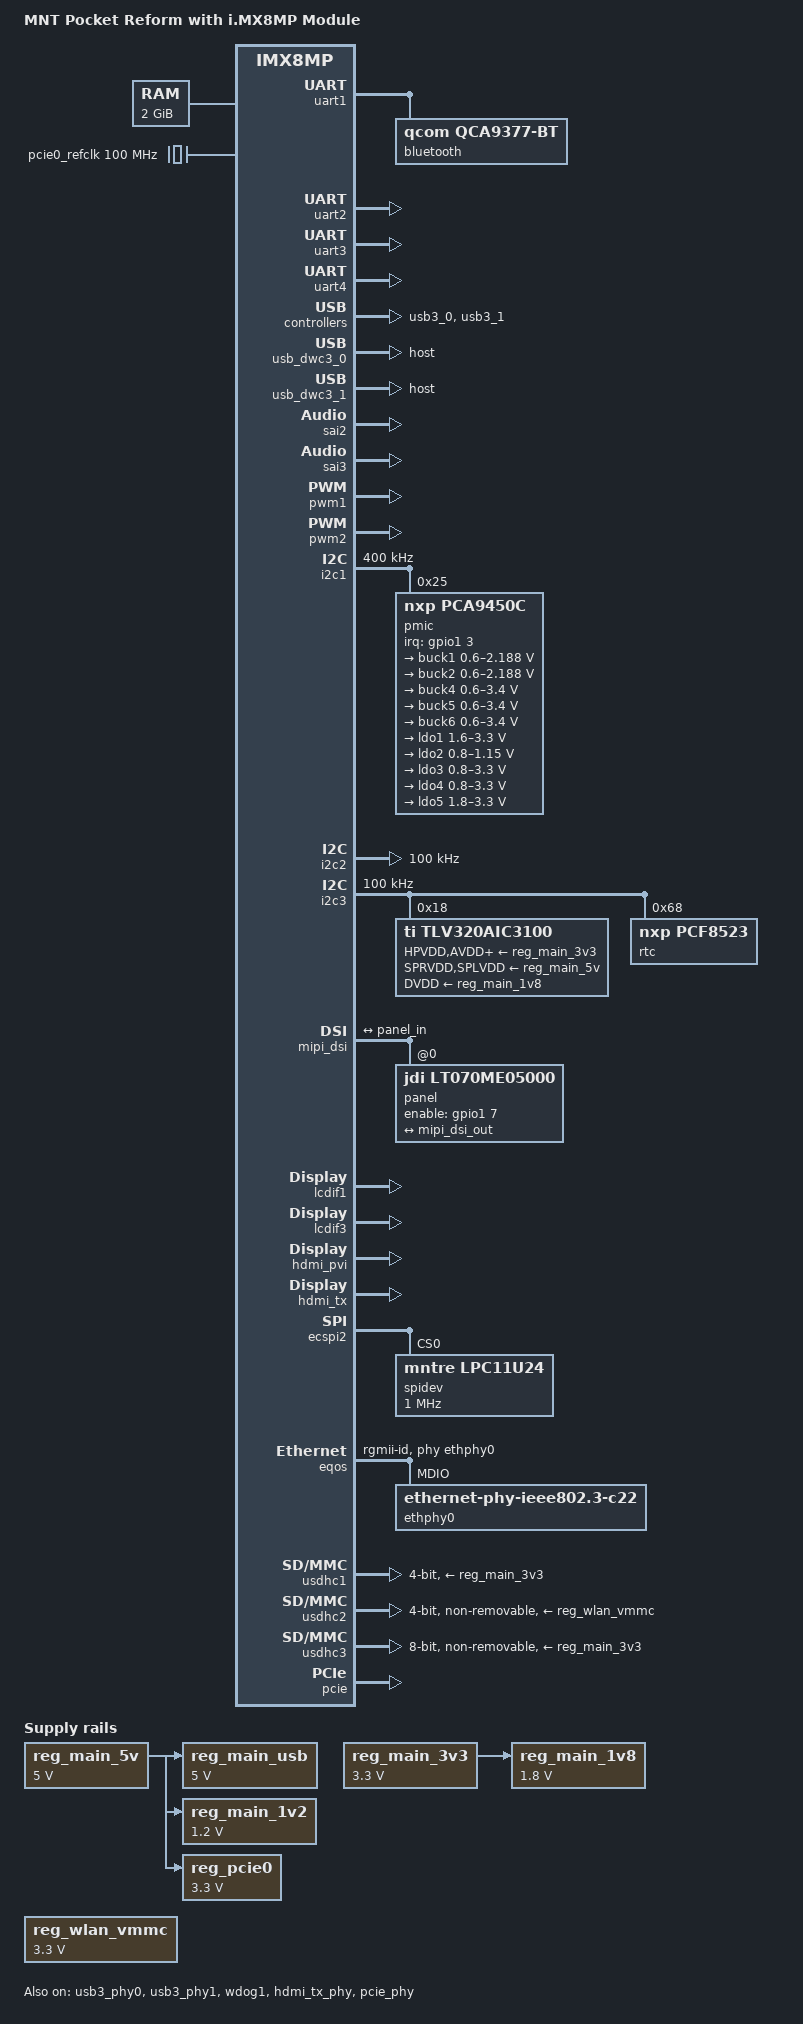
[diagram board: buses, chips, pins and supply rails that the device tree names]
// SPDX-License-Identifier: (GPL-2.0+ OR MIT)

/*
 * Copyright 2019-2022 MNT Research GmbH
 * Copyright 2021 Lucas Stach <dev@lynxeye.de>
 * Copyright 2020 Boundary Devices
*/

// https://github.com/boundarydevices/linux/blob/boundary-imx_5.15.y/arch/arm64/boot/dts/freescale/imx8mp-nitrogen8mp.dts

/dts-v1/;

#include <dt-bindings/phy/phy-imx8-pcie.h>
#include "imx8mp.dtsi"

&iomuxc {
	pinctrl_eqos: eqosgrp {
		fsl,pins = <
			MX8MP_IOMUXC_ENET_MDC__ENET_QOS_MDC		0x20
			MX8MP_IOMUXC_ENET_MDIO__ENET_QOS_MDIO		0xa0
			MX8MP_IOMUXC_ENET_TX_CTL__ENET_QOS_RGMII_TX_CTL	0x1f
			MX8MP_IOMUXC_ENET_TXC__CCM_ENET_QOS_CLOCK_GENERATE_TX_CLK	0x1f
			MX8MP_IOMUXC_ENET_TD0__ENET_QOS_RGMII_TD0		0x1f
			MX8MP_IOMUXC_ENET_TD1__ENET_QOS_RGMII_TD1		0x1f
			MX8MP_IOMUXC_ENET_TD2__ENET_QOS_RGMII_TD2		0x1f
			MX8MP_IOMUXC_ENET_TD3__ENET_QOS_RGMII_TD3		0x1f

			MX8MP_IOMUXC_ENET_RX_CTL__ENET_QOS_RGMII_RX_CTL	0x91
			MX8MP_IOMUXC_ENET_RXC__CCM_ENET_QOS_CLOCK_GENERATE_RX_CLK	0x91
			MX8MP_IOMUXC_ENET_RD0__ENET_QOS_RGMII_RD0	0x91
			MX8MP_IOMUXC_ENET_RD1__ENET_QOS_RGMII_RD1	0x91
			MX8MP_IOMUXC_ENET_RD2__ENET_QOS_RGMII_RD2	0x91
			MX8MP_IOMUXC_ENET_RD3__ENET_QOS_RGMII_RD3	0x91
#define GP_EQOS_RESET	<&gpio3 16 GPIO_ACTIVE_LOW>
			MX8MP_IOMUXC_NAND_READY_B__GPIO3_IO16		0x100
#define GPIRQ_EQOS_PHY	<&gpio3 14 IRQ_TYPE_LEVEL_LOW>
			MX8MP_IOMUXC_NAND_DQS__GPIO3_IO14 0x10
		>;
	};

	pinctrl_hog: hoggrp {
		fsl,pins = <
			//MX8MP_IOMUXC_NAND_DATA01__GPIO3_IO07		0x119			/* J31 */
			MX8MP_IOMUXC_SPDIF_RX__GPIO5_IO04		0x41	/* Pin 17 */
			MX8MP_IOMUXC_SPDIF_EXT_CLK__GPIO5_IO05		0x41	/* Pin 19 */
			MX8MP_IOMUXC_SPDIF_TX__GPIO5_IO03		0x41	/* Pin 21 */
			MX8MP_IOMUXC_SD1_RESET_B__GPIO2_IO10		0x41	/* Pin 23 */
			MX8MP_IOMUXC_SD1_DATA6__GPIO2_IO08		0x41	/* Pin 25 */
			MX8MP_IOMUXC_SD1_DATA5__GPIO2_IO07		0x41	/* Pin 29 */
			//MX8MP_IOMUXC_SD1_DATA4__GPIO2_IO06		0x41	/* Pin 31 */
			MX8MP_IOMUXC_SAI1_MCLK__GPIO4_IO20		0x16	/* Pin 2 */
			MX8MP_IOMUXC_SAI1_TXD7__GPIO4_IO19		0x1c4	/* Pin 4 */
		>;
	};

	pinctrl_panel: panelgrp {
		fsl,pins = <
			MX8MP_IOMUXC_GPIO1_IO06__GPIO1_IO06	0x140
			MX8MP_IOMUXC_GPIO1_IO07__GPIO1_IO07	0x140
			MX8MP_IOMUXC_SD1_DATA4__GPIO2_IO06		0x41	/* Pin 31 */
		>;
	};

	pinctrl_hdmi: hdmigrp {
		fsl,pins = <
			MX8MP_IOMUXC_HDMI_DDC_SCL__HDMIMIX_HDMI_SCL	0x1c3
			MX8MP_IOMUXC_HDMI_DDC_SDA__HDMIMIX_HDMI_SDA	0x1c3
			MX8MP_IOMUXC_HDMI_HPD__HDMIMIX_HDMI_HPD		0x19
			MX8MP_IOMUXC_HDMI_CEC__HDMIMIX_HDMI_CEC		0x19

			/*MX8MP_IOMUXC_HDMI_DDC_SCL__HDMIMIX_HDMI_SCL	0x400001c3
			MX8MP_IOMUXC_HDMI_DDC_SDA__HDMIMIX_HDMI_SDA	0x400001c3
			MX8MP_IOMUXC_HDMI_HPD__HDMIMIX_HDMI_HPD		0x40000019
			MX8MP_IOMUXC_HDMI_CEC__HDMIMIX_HDMI_CEC		0x40000019*/
		>;
	};

	pinctrl_bt_rfkill: bt-rfkillgrp {
		fsl,pins = <
#define GP_BT_RFKILL_RESET	<&gpio3 9 GPIO_ACTIVE_LOW>
			MX8MP_IOMUXC_NAND_DATA03__GPIO3_IO09	0x119
		>;
	};

	pinctrl_ecspi2: ecspi2grp {
		fsl,pins = <
			/* J31 */
			MX8MP_IOMUXC_ECSPI2_SCLK__ECSPI2_SCLK		0x82	/* Pin 20 */
			MX8MP_IOMUXC_ECSPI2_MOSI__ECSPI2_MOSI		0x82	/* Pin 10 */
			MX8MP_IOMUXC_ECSPI2_MISO__ECSPI2_MISO		0x82	/* Pin 8 */
#define GP_ECSPI2_CS	<&gpio5 13 GPIO_ACTIVE_LOW>
			MX8MP_IOMUXC_ECSPI2_SS0__GPIO5_IO13		0x143	/* Pin 6 */
		>;
	};

	pinctrl_i2c1: i2c1grp {
		fsl,pins = <
			MX8MP_IOMUXC_I2C1_SCL__I2C1_SCL		0x400001c3
			MX8MP_IOMUXC_I2C1_SDA__I2C1_SDA		0x400001c3
		>;
	};

	pinctrl_i2c1_1: i2c1-1grp {
		fsl,pins = <
#define GP_I2C1_SCL	<&gpio5 14 GPIO_OPEN_DRAIN>
			MX8MP_IOMUXC_I2C1_SCL__GPIO5_IO14					0x1c3
#define GP_I2C1_SDA	<&gpio5 15 GPIO_OPEN_DRAIN>
			MX8MP_IOMUXC_I2C1_SDA__GPIO5_IO15					0x1c3
		>;
	};

	pinctrl_i2c2: i2c2grp {
		fsl,pins = <
			MX8MP_IOMUXC_I2C2_SCL__I2C2_SCL			0x400001c3
			MX8MP_IOMUXC_I2C2_SDA__I2C2_SDA			0x400001c3
		>;
	};

	pinctrl_i2c2_1: i2c2-1grp {
		fsl,pins = <
#define GP_I2C2_SCL	<&gpio5 16 GPIO_OPEN_DRAIN>
			MX8MP_IOMUXC_I2C2_SCL__GPIO5_IO16					0x1c3
#define GP_I2C2_SDA	<&gpio5 17 GPIO_OPEN_DRAIN>
			MX8MP_IOMUXC_I2C2_SDA__GPIO5_IO17					0x1c3
		>;
	};

	pinctrl_i2c3: i2c3grp {
		fsl,pins = <
			MX8MP_IOMUXC_I2C3_SCL__I2C3_SCL			0x400001c3
			MX8MP_IOMUXC_I2C3_SDA__I2C3_SDA			0x400001c3
		>;
	};

	pinctrl_i2c3_1: i2c3-1grp {
		fsl,pins = <
#define GP_I2C3_SCL	<&gpio5 18 GPIO_OPEN_DRAIN>
			MX8MP_IOMUXC_I2C3_SCL__GPIO5_IO18					0x1c3
#define GP_I2C3_SDA	<&gpio5 19 GPIO_OPEN_DRAIN>
			MX8MP_IOMUXC_I2C3_SDA__GPIO5_IO19					0x1c3
		>;
	};

	pinctrl_i2c4: i2c4grp {
		fsl,pins = <
			MX8MP_IOMUXC_I2C4_SCL__I2C4_SCL			0x400001c3
			MX8MP_IOMUXC_I2C4_SDA__I2C4_SDA			0x400001c3
		>;
	};

	pinctrl_i2c4_1: i2c4-1grp {
		fsl,pins = <
#define GP_I2C4_SCL	<&gpio5 20 GPIO_OPEN_DRAIN>
			MX8MP_IOMUXC_I2C4_SCL__GPIO5_IO20					0x1c3
#define GP_I2C4_SDA	<&gpio5 21 GPIO_OPEN_DRAIN>
			MX8MP_IOMUXC_I2C4_SDA__GPIO5_IO21					0x1c3
		>;
	};

	pinctrl_reg_wlan_vmmc: reg-wlan-vmmcgrp {
		fsl,pins = <
#define GP_REG_WLAN_VMMC	<&gpio2 19 GPIO_ACTIVE_HIGH>
			MX8MP_IOMUXC_SD2_RESET_B__GPIO2_IO19	0x16
		>;
	};

	pinctrl_sai2: sai2grp {
		fsl,pins = <
			MX8MP_IOMUXC_SAI2_TXFS__AUDIOMIX_SAI2_TX_SYNC	0xd6
			MX8MP_IOMUXC_SAI2_RXFS__AUDIOMIX_SAI2_RX_SYNC	0xd6
			MX8MP_IOMUXC_SAI2_TXC__AUDIOMIX_SAI2_TX_BCLK	0xd6
			MX8MP_IOMUXC_SAI2_RXC__AUDIOMIX_SAI2_RX_BCLK	0xd6
			MX8MP_IOMUXC_SAI2_RXD0__AUDIOMIX_SAI2_RX_DATA00	0xd6
			MX8MP_IOMUXC_SAI2_TXD0__AUDIOMIX_SAI2_TX_DATA00	0xd6
			MX8MP_IOMUXC_SAI2_MCLK__AUDIOMIX_SAI2_MCLK	0xd6
		>;
	};

	pinctrl_sai3: sai3grp {
		fsl,pins = <
			MX8MP_IOMUXC_SAI3_TXFS__AUDIOMIX_SAI3_TX_SYNC	0xd6
			MX8MP_IOMUXC_SAI3_RXFS__AUDIOMIX_SAI3_RX_SYNC	0xd6
			MX8MP_IOMUXC_SAI3_TXC__AUDIOMIX_SAI3_TX_BCLK	0xd6
			MX8MP_IOMUXC_SAI3_RXC__AUDIOMIX_SAI3_RX_BCLK	0xd6
			MX8MP_IOMUXC_SAI3_RXD__AUDIOMIX_SAI3_RX_DATA00	0xd6
			MX8MP_IOMUXC_SAI3_TXD__AUDIOMIX_SAI3_TX_DATA00	0xd6
			MX8MP_IOMUXC_SAI3_MCLK__AUDIOMIX_SAI3_MCLK	0xd6
		>;
	};

	pinctrl_pcie: pciegrp {
		fsl,pins = <
#define GP_PCIE_RESET	<&gpio1 11 GPIO_ACTIVE_LOW>
			MX8MP_IOMUXC_GPIO1_IO11__GPIO1_IO11	0x41
/*#define GP_PCIE_DISABLE	<&gpio4 26 GPIO_ACTIVE_LOW>
			MX8MP_IOMUXC_SAI2_TXD0__GPIO4_IO26	0x41*/
		>;
	};

	pinctrl_pmic: pmicirq {
		fsl,pins = <
#define GPIRQ_PMIC	<&gpio3 0 IRQ_TYPE_LEVEL_LOW>
			MX8MP_IOMUXC_NAND_ALE__GPIO3_IO00	0x41
		>;
	};

	pinctrl_edp_bridge: edpbridgegrp {
		fsl,pins = <
			MX8MP_IOMUXC_GPIO1_IO04__GPIO1_IO04 0x100
		>;
	};

	pinctrl_uart1: uart1grp {
		fsl,pins = <
			MX8MP_IOMUXC_UART1_RXD__UART1_DCE_RX	0x140
			MX8MP_IOMUXC_UART1_TXD__UART1_DCE_TX	0x140
			MX8MP_IOMUXC_UART3_RXD__UART1_DCE_CTS	0x140
			MX8MP_IOMUXC_UART3_TXD__UART1_DCE_RTS	0x140
#define GP_BT_ENABLE	<&gpio3 9 GPIO_ACTIVE_HIGH>
			MX8MP_IOMUXC_NAND_DATA03__GPIO3_IO09	0x119
		>;
	};

	pinctrl_uart2: uart2grp {
		fsl,pins = <
			MX8MP_IOMUXC_UART2_RXD__UART2_DCE_RX	0x140
			MX8MP_IOMUXC_UART2_TXD__UART2_DCE_TX	0x140
		>;
	};

	pinctrl_uart3: uart3grp {
		fsl,pins = <
			MX8MP_IOMUXC_ECSPI1_SCLK__UART3_DCE_RX	0x140
			MX8MP_IOMUXC_ECSPI1_MOSI__UART3_DCE_TX	0x140
		>;
	};

	pinctrl_uart4: uart4grp {
		fsl,pins = <
			MX8MP_IOMUXC_UART4_RXD__UART4_DCE_RX	0x140
			MX8MP_IOMUXC_UART4_TXD__UART4_DCE_TX	0x140
		>;
	};

	pinctrl_usb1_vbus: usb1grp {
		fsl,pins = <
			MX8MP_IOMUXC_GPIO1_IO14__USB2_OTG_PWR	0x10
		>;
	};

	pinctrl_usdhc1: usdhc1grp {
		fsl,pins = <
			MX8MP_IOMUXC_SD1_CLK__USDHC1_CLK	0x190
			MX8MP_IOMUXC_SD1_CMD__USDHC1_CMD	0x1d0
			MX8MP_IOMUXC_SD1_DATA0__USDHC1_DATA0	0x1d0
			MX8MP_IOMUXC_SD1_DATA1__USDHC1_DATA1	0x1d0
			MX8MP_IOMUXC_SD1_DATA2__USDHC1_DATA2	0x1d0
			MX8MP_IOMUXC_SD1_DATA3__USDHC1_DATA3	0x1d0
			//MX8MP_IOMUXC_GPIO1_IO03__USDHC1_VSELECT	0x116
		>;
	};

	pinctrl_usdhc1_100mhz: usdhc1grp-100mhz {
		fsl,pins = <
			MX8MP_IOMUXC_SD1_CLK__USDHC1_CLK	0x194
			MX8MP_IOMUXC_SD1_CMD__USDHC1_CMD	0x1d4
			MX8MP_IOMUXC_SD1_DATA0__USDHC1_DATA0	0x1d4
			MX8MP_IOMUXC_SD1_DATA1__USDHC1_DATA1	0x1d4
			MX8MP_IOMUXC_SD1_DATA2__USDHC1_DATA2	0x1d4
			MX8MP_IOMUXC_SD1_DATA3__USDHC1_DATA3	0x1d4
		>;
	};

	pinctrl_usdhc1_200mhz: usdhc1grp-200mhz {
		fsl,pins = <
			MX8MP_IOMUXC_SD1_CLK__USDHC1_CLK	0x196
			MX8MP_IOMUXC_SD1_CMD__USDHC1_CMD	0x1d6
			MX8MP_IOMUXC_SD1_DATA0__USDHC1_DATA0	0x1d6
			MX8MP_IOMUXC_SD1_DATA1__USDHC1_DATA1	0x1d6
			MX8MP_IOMUXC_SD1_DATA2__USDHC1_DATA2	0x1d6
			MX8MP_IOMUXC_SD1_DATA3__USDHC1_DATA3	0x1d6
		>;
	};

	pinctrl_usdhc1_gpio: usdhc1grp-gpio {
		fsl,pins = <
#define GP_USDHC1_CD	<&gpio2 11 GPIO_ACTIVE_LOW>
			MX8MP_IOMUXC_SD1_STROBE__GPIO2_IO11	0x1c4
		>;
	};

	pinctrl_usdhc2: usdhc2grp {
		fsl,pins = <
			MX8MP_IOMUXC_SD2_CLK__USDHC2_CLK	0x190
			MX8MP_IOMUXC_SD2_CMD__USDHC2_CMD	0x1d0
			MX8MP_IOMUXC_SD2_DATA0__USDHC2_DATA0	0x1d0
			MX8MP_IOMUXC_SD2_DATA1__USDHC2_DATA1	0x1d0
			MX8MP_IOMUXC_SD2_DATA2__USDHC2_DATA2	0x1d0
			MX8MP_IOMUXC_SD2_DATA3__USDHC2_DATA3	0x1d0
		>;
	};

	pinctrl_usdhc2_100mhz: usdhc2grp100mhz {
		fsl,pins = <
			MX8MP_IOMUXC_SD2_CLK__USDHC2_CLK	0x194
			MX8MP_IOMUXC_SD2_CMD__USDHC2_CMD	0x1d4
			MX8MP_IOMUXC_SD2_DATA0__USDHC2_DATA0	0x1d4
			MX8MP_IOMUXC_SD2_DATA1__USDHC2_DATA1	0x1d4
			MX8MP_IOMUXC_SD2_DATA2__USDHC2_DATA2	0x1d4
			MX8MP_IOMUXC_SD2_DATA3__USDHC2_DATA3	0x1d4
		>;
	};

	pinctrl_usdhc2_200mhz: usdhc2grp200mhz {
		fsl,pins = <
			MX8MP_IOMUXC_SD2_CLK__USDHC2_CLK	0x196
			MX8MP_IOMUXC_SD2_CMD__USDHC2_CMD	0x1d6
			MX8MP_IOMUXC_SD2_DATA0__USDHC2_DATA0	0x1d6
			MX8MP_IOMUXC_SD2_DATA1__USDHC2_DATA1	0x1d6
			MX8MP_IOMUXC_SD2_DATA2__USDHC2_DATA2	0x1d6
			MX8MP_IOMUXC_SD2_DATA3__USDHC2_DATA3	0x1d6
		>;
	};

	pinctrl_usdhc3: usdhc3grp {
		fsl,pins = <
			MX8MP_IOMUXC_NAND_WE_B__USDHC3_CLK	0x190
			MX8MP_IOMUXC_NAND_WP_B__USDHC3_CMD	0x1d0
			MX8MP_IOMUXC_NAND_DATA04__USDHC3_DATA0	0x1d0
			MX8MP_IOMUXC_NAND_DATA05__USDHC3_DATA1	0x1d0
			MX8MP_IOMUXC_NAND_DATA06__USDHC3_DATA2	0x1d0
			MX8MP_IOMUXC_NAND_DATA07__USDHC3_DATA3	0x1d0
			MX8MP_IOMUXC_NAND_RE_B__USDHC3_DATA4	0x1d0
			MX8MP_IOMUXC_NAND_CE2_B__USDHC3_DATA5	0x1d0
			MX8MP_IOMUXC_NAND_CE3_B__USDHC3_DATA6	0x1d0
			MX8MP_IOMUXC_NAND_CLE__USDHC3_DATA7	0x1d0
			MX8MP_IOMUXC_NAND_CE1_B__USDHC3_STROBE	0x10
#define GP_EMMC_RESET	<&gpio3 1 IRQ_TYPE_LEVEL_LOW>
			MX8MP_IOMUXC_NAND_CE0_B__GPIO3_IO01	0x140
		>;
	};

	pinctrl_usdhc3_100mhz: usdhc3grp-100mhz {
		fsl,pins = <
			MX8MP_IOMUXC_NAND_WE_B__USDHC3_CLK	0x194
			MX8MP_IOMUXC_NAND_WP_B__USDHC3_CMD	0x1d4
			MX8MP_IOMUXC_NAND_DATA04__USDHC3_DATA0	0x1d4
			MX8MP_IOMUXC_NAND_DATA05__USDHC3_DATA1	0x1d4
			MX8MP_IOMUXC_NAND_DATA06__USDHC3_DATA2	0x1d4
			MX8MP_IOMUXC_NAND_DATA07__USDHC3_DATA3	0x1d4
			MX8MP_IOMUXC_NAND_RE_B__USDHC3_DATA4	0x1d4
			MX8MP_IOMUXC_NAND_CE2_B__USDHC3_DATA5	0x1d4
			MX8MP_IOMUXC_NAND_CE3_B__USDHC3_DATA6	0x1d4
			MX8MP_IOMUXC_NAND_CLE__USDHC3_DATA7	0x1d4
			MX8MP_IOMUXC_NAND_CE1_B__USDHC3_STROBE	0x14
		>;
	};

	pinctrl_usdhc3_200mhz: usdhc3grp-200mhz {
		fsl,pins = <
			MX8MP_IOMUXC_NAND_WE_B__USDHC3_CLK	0x196
			MX8MP_IOMUXC_NAND_WP_B__USDHC3_CMD	0x1d6
			MX8MP_IOMUXC_NAND_DATA04__USDHC3_DATA0	0x1d6
			MX8MP_IOMUXC_NAND_DATA05__USDHC3_DATA1	0x1d6
			MX8MP_IOMUXC_NAND_DATA06__USDHC3_DATA2	0x1d6
			MX8MP_IOMUXC_NAND_DATA07__USDHC3_DATA3	0x1d6
			MX8MP_IOMUXC_NAND_RE_B__USDHC3_DATA4	0x1d6
			MX8MP_IOMUXC_NAND_CE2_B__USDHC3_DATA5	0x1d6
			MX8MP_IOMUXC_NAND_CE3_B__USDHC3_DATA6	0x1d6
			MX8MP_IOMUXC_NAND_CLE__USDHC3_DATA7	0x1d6
			MX8MP_IOMUXC_NAND_CE1_B__USDHC3_STROBE	0x12
		>;
	};

	pinctrl_wdog: wdoggrp {
		fsl,pins = <
			MX8MP_IOMUXC_GPIO1_IO02__WDOG1_WDOG_B	0xc6
		>;
	};
};

/ {
	model = "MNT Pocket Reform with i.MX8MP Module";
	compatible = "mntre,pocket-reform", "boundary,imx8mp-nitrogen8mp-som", "fsl,imx8mp";
	chassis-type = "laptop";

	chosen {
		stdout-path = &uart2;
	};

	memory@40000000 {
		device_type = "memory";
		reg = <0x0 0x40000000 0 0x80000000>;
	};

	bt-rfkill {
		compatible = "net,rfkill-gpio";
		pinctrl-names = "default";
		pinctrl-0 = <&pinctrl_bt_rfkill>;
		name = "bt-rfkill";
		type = <2>; /* Bluetooth */
		reset-gpios = GP_BT_RFKILL_RESET;
		status = "okay";
	};

	pcie0_refclk: pcie0-refclk {
		compatible = "fixed-clock";
		#clock-cells = <0>;
		clock-frequency = <100000000>;
	};

	reg_main_5v: regulator-main-5v {
		compatible = "regulator-fixed";
		regulator-name = "5V";
		regulator-min-microvolt = <5000000>;
		regulator-max-microvolt = <5000000>;
	};

	reg_main_3v3: regulator-main-3v3 {
		compatible = "regulator-fixed";
		regulator-name = "3V3";
		regulator-min-microvolt = <3300000>;
		regulator-max-microvolt = <3300000>;
	};

	reg_main_usb: regulator-main-usb {
		compatible = "regulator-fixed";
		regulator-name = "USB_PWR";
		regulator-min-microvolt = <5000000>;
		regulator-max-microvolt = <5000000>;
		vin-supply = <&reg_main_5v>;
	};

	reg_main_1v8: regulator-main-1v8 {
		compatible = "regulator-fixed";
		regulator-name = "1V8";
		regulator-min-microvolt = <1800000>;
		regulator-max-microvolt = <1800000>;
		vin-supply = <&reg_main_3v3>;
	};

	reg_main_1v2: regulator-main-1v2 {
		compatible = "regulator-fixed";
		regulator-name = "1V2";
		regulator-min-microvolt = <1200000>;
		regulator-max-microvolt = <1200000>;
		vin-supply = <&reg_main_5v>;
	};

	reg_wlan_vmmc: regulator-wlan-vmmc {
		compatible = "regulator-fixed";
		pinctrl-names = "default";
		pinctrl-0 = <&pinctrl_reg_wlan_vmmc>;
		regulator-name = "reg_wlan_vmmc";
		regulator-min-microvolt = <3300000>;
		regulator-max-microvolt = <3300000>;
		gpio = GP_REG_WLAN_VMMC;
		startup-delay-us = <70000>;
		enable-active-high;
	};

	reg_pcie0: regulator-pcie {
		compatible = "regulator-fixed";
		regulator-name = "MPCIE_3V3";
		regulator-min-microvolt = <3300000>;
		regulator-max-microvolt = <3300000>;
		vin-supply = <&reg_main_5v>;
	};

	sound {
		compatible = "simple-audio-card";
		status = "okay";
		simple-audio-card,name = "tlv320aic3100";
		simple-audio-card,format = "i2s";
		simple-audio-card,frame-master = <&codec_dai>;
		simple-audio-card,bitclock-master = <&codec_dai>;

		simple-audio-card,widgets =
			"Microphone", "Microphone Jack",
			"Headphone", "Headphone Jack",
			"Speaker", "Speaker";

		simple-audio-card,routing =
			"MIC1RP", "MICBIAS",
			"MIC1RP", "Microphone Jack",
			"Headphone Jack", "HPR",
			"Speaker", "SPK";

		cpu_dai: simple-audio-card,cpu {
			sound-dai = <&sai2>;
		};

		codec_dai: simple-audio-card,codec {
			sound-dai = <&tlv320aic3100>;
			clocks = <&audio_blk_ctrl IMX8MP_CLK_AUDIOMIX_SAI2_MCLK1>;
		};
	};

	sound-wwan {
		compatible = "simple-audio-card";
		simple-audio-card,name = "Modem";
		simple-audio-card,format = "dsp_a";
		simple-audio-card,frame-master = <&wwan_dai>;
		simple-audio-card,bitclock-master = <&wwan_dai>;
    simple-audio-card,bitclock-inversion = <&wwan_dai>;

		wwan_cpu_dai: simple-audio-card,cpu {
			sound-dai = <&sai3>;
		};

		wwan_dai: simple-audio-card,codec {
			sound-dai = <&wwan_codec>;
		};
	};

	wwan_codec: sound-wwan-codec {
		compatible = "option,gtm601";
		#sound-dai-cells = <0>;
	};
};

&snvs_rtc {
	status = "disabled";
};

&uart1 {
	pinctrl-names = "default";
	pinctrl-0 = <&pinctrl_uart1>;
	assigned-clocks = <&clk IMX8MP_CLK_UART1>;
	assigned-clock-parents = <&clk IMX8MP_SYS_PLL1_80M>;
	uart-has-rtscts;
	status = "okay";

	bluetooth {
		compatible = "qcom,qca9377-bt";
		enable-gpios = GP_BT_ENABLE;
		max-speed = <3000000>;
	};
};

&uart2 {
	pinctrl-names = "default";
	pinctrl-0 = <&pinctrl_uart2>;
	status = "okay";
};

&uart3 {
	pinctrl-names = "default";
	pinctrl-0 = <&pinctrl_uart3>;
	assigned-clocks = <&clk IMX8MP_CLK_UART3>;
	assigned-clock-parents = <&clk IMX8MP_SYS_PLL1_80M>;
	status = "okay";
};

&uart4 {
	pinctrl-names = "default";
	pinctrl-0 = <&pinctrl_uart4>;
	assigned-clocks = <&clk IMX8MP_CLK_UART4>;
	assigned-clock-parents = <&clk IMX8MP_SYS_PLL1_80M>;
	status = "okay";
};

&usb3_0 {
	fsl,disable-port-power-control;
	status = "okay";
};

&usb3_1 {
	fsl,disable-port-power-control;
	status = "okay";
};

&usb3_phy0 {
	status = "okay";
};

&usb3_phy1 {
	status = "okay";
};

&usb_dwc3_0 {
	dr_mode = "host";
	status = "okay";
};

&usb_dwc3_1 {
	pinctrl-names = "default";
	pinctrl-0 = <&pinctrl_usb1_vbus>;
	dr_mode = "host";
	status = "okay";
};

&sai2 {
	pinctrl-names = "default";
	pinctrl-0 = <&pinctrl_sai2>;
	assigned-clocks = <&clk IMX8MP_CLK_AUDIOMIX_SAI2_MCLK1>;
	assigned-clock-parents = <&clk IMX8MP_AUDIO_PLL2_OUT>;
	assigned-clock-rates = <24576000>;
	fsl,sai-mclk-direction-output;
	#sound-dai-cells = <0>;
	status = "okay";
};

&sai3 {
	pinctrl-names = "default";
	pinctrl-0 = <&pinctrl_sai3>;
	assigned-clocks = <&clk IMX8MP_CLK_SAI3>;
	assigned-clock-parents = <&clk IMX8MP_AUDIO_PLL1_OUT>;
	assigned-clock-rates = <24576000>;
	fsl,sai-mclk-direction-output;
	#sound-dai-cells = <0>;
	status = "okay";
};

&pwm1 {
	//pinctrl-names = "default";
	//pinctrl-0 = <&pinctrl_pwm1>;
	status = "okay";
};

&pwm2 {
	//pinctrl-names = "default";
	//pinctrl-0 = <&pinctrl_pwm2>;
	status = "okay";
};

&wdog1 {
	pinctrl-names = "default";
	pinctrl-0 = <&pinctrl_wdog>;
	fsl,ext-reset-output;
	timeout-sec = <7200>;
	status = "okay";
};

&i2c1 {
	clock-frequency = <400000>;
	pinctrl-names = "default", "gpio";
	pinctrl-0 = <&pinctrl_i2c1>;
	pinctrl-1 = <&pinctrl_i2c1_1>;
	scl-gpios = GP_I2C1_SCL;
	sda-gpios = GP_I2C1_SDA;
	status = "okay";

	pmic: pca9450@25 {
		reg = <0x25>;
		compatible = "nxp,pca9450c";
		/* PMIC PCA9450 PMIC_nINT GPIO1_IO3 */
		pinctrl-0 = <&pinctrl_pmic>;
		interrupt-parent = <&gpio1>;
		interrupts = <3 IRQ_TYPE_LEVEL_LOW>;

		regulators {
			buck1: BUCK1 {
				regulator-name = "BUCK1";
				regulator-min-microvolt = <600000>;
				regulator-max-microvolt = <2187500>;
				regulator-boot-on;
				regulator-always-on;
				regulator-ramp-delay = <3125>;
			};

			buck2: BUCK2 {
				regulator-name = "BUCK2";
				regulator-min-microvolt = <600000>;
				regulator-max-microvolt = <2187500>;
				regulator-limit-microvolt = <1025000>;
				regulator-boot-on;
				regulator-always-on;
				regulator-ramp-delay = <3125>;
				nxp,dvs-run-voltage = <950000>;
				nxp,dvs-standby-voltage = <850000>;
			};

			buck4: BUCK4 {
				regulator-name = "BUCK4";
				regulator-min-microvolt = <600000>;
				regulator-max-microvolt = <3400000>;
				regulator-boot-on;
				regulator-always-on;
			};

			buck5: BUCK5 {
				regulator-name = "BUCK5";
				regulator-min-microvolt = <600000>;
				regulator-max-microvolt = <3400000>;
				regulator-boot-on;
				regulator-always-on;
			};

			buck6: BUCK6 {
				regulator-name = "BUCK6";
				regulator-min-microvolt = <600000>;
				regulator-max-microvolt = <3400000>;
				regulator-boot-on;
				regulator-always-on;
			};

			ldo1: LDO1 {
				regulator-name = "LDO1";
				regulator-min-microvolt = <1600000>;
				regulator-max-microvolt = <3300000>;
				regulator-boot-on;
				regulator-always-on;
			};

			ldo2: LDO2 {
				regulator-name = "LDO2";
				regulator-min-microvolt = <800000>;
				regulator-max-microvolt = <1150000>;
				regulator-boot-on;
				regulator-always-on;
			};

			ldo3: LDO3 {
				regulator-name = "LDO3";
				regulator-min-microvolt = <800000>;
				regulator-max-microvolt = <3300000>;
				regulator-boot-on;
				regulator-always-on;
			};

			ldo4: LDO4 {
				regulator-name = "LDO4";
				regulator-min-microvolt = <800000>;
				regulator-max-microvolt = <3300000>;
				regulator-boot-on;
				regulator-always-on;
			};

			ldo5: LDO5 {
				regulator-name = "LDO5";
				regulator-min-microvolt = <1800000>;
				regulator-max-microvolt = <3300000>;
				regulator-boot-on;
				regulator-always-on;
			};
		};
	};
};

&A53_0 {
	cpu-supply = <&buck2>;
};

&A53_1 {
	cpu-supply = <&buck2>;
};

&A53_2 {
	cpu-supply = <&buck2>;
};

&A53_3 {
	cpu-supply = <&buck2>;
};

&i2c2 {
	clock-frequency = <100000>;
	pinctrl-names = "default", "gpio";
	pinctrl-0 = <&pinctrl_i2c2>;
	pinctrl-1 = <&pinctrl_i2c2_1>;
	scl-gpios = GP_I2C2_SCL;
	sda-gpios = GP_I2C2_SDA;
	status = "okay";
};

&i2c3 {
	clock-frequency = <100000>;
	pinctrl-names = "default", "gpio";
	pinctrl-0 = <&pinctrl_i2c3>;
	pinctrl-1 = <&pinctrl_i2c3_1>;
	scl-gpios = GP_I2C3_SCL;
	sda-gpios = GP_I2C3_SDA;
	status = "okay";

	tlv320aic3100: codec@18 {
		compatible = "ti,tlv320aic3100";
		reg = <0x18>;
		#sound-dai-cells = <0>;
		clocks = <&audio_blk_ctrl IMX8MP_CLK_AUDIOMIX_SAI2_MCLK1>;
		clock-names = "mclk";
		ai31xx-micbias-vg = <2>;

		HPVDD-supply = <&reg_main_3v3>;
		SPRVDD-supply = <&reg_main_5v>;
		SPLVDD-supply = <&reg_main_5v>;
		AVDD-supply = <&reg_main_3v3>;
		IOVDD-supply = <&reg_main_3v3>;
		DVDD-supply = <&reg_main_1v8>;

		status = "okay";
	};

	rtc@68 {
		compatible = "nxp,pcf8523";
		reg = <0x68>;
	};
};

&i2c4 {
	clock-frequency = <100000>;
	pinctrl-names = "default", "gpio";
	pinctrl-0 = <&pinctrl_i2c4>;
	pinctrl-1 = <&pinctrl_i2c4_1>;
	scl-gpios = GP_I2C4_SCL;
	sda-gpios = GP_I2C4_SDA;
	status = "disabled";
};

&mipi_dsi {
	#address-cells = <1>;
	#size-cells = <0>;
	samsung,burst-clock-frequency = <972000000>;
	samsung,esc-clock-frequency = <48000000>;
	status = "okay";

	panel@0 {
		compatible = "jdi,lt070me05000";
		reg = <0>;

		pinctrl = <&pinctrl_panel>;

		// reset is driven by rp2040
		// dcdc en is also driven by rp2040
		// actually backlight enable
		enable-gpios = <&gpio1 7 GPIO_ACTIVE_HIGH>;
		burst-mode;

		port {
			panel_in: endpoint {
				remote-endpoint = <&mipi_dsi_out>;
			};
		};
	};

	ports {
		port@1 {
			reg = <1>;
			mipi_dsi_out: endpoint {
				remote-endpoint = <&panel_in>;
			};
		};
	};
};

&lcdif1 {
	status = "okay";
};

&lcdif3 {
	status = "okay";
};

&hdmi_pvi {
	status = "okay";
};

&hdmi_tx {
	pinctrl-names = "default";
	pinctrl-0 = <&pinctrl_hdmi>;
	status = "okay";
};

&hdmi_tx_phy {
	status = "okay";
};

&ecspi2 {
	pinctrl-names = "default";
	pinctrl-0 = <&pinctrl_ecspi2>;
	cs-gpios = GP_ECSPI2_CS;
	status = "okay";

	spidev@0 {
		compatible = "mntre,lpc11u24";
		spi-max-frequency = <1000000>;
		reg = <0>;
	};
};

&eqos {
	pinctrl-names = "default";
	pinctrl-0 = <&pinctrl_eqos>;
	phy-mode = "rgmii-id";
	phy-handle = <&ethphy0>;
	status = "okay";

	mdio {
		compatible = "snps,dwmac-mdio";
		#address-cells = <1>;
		#size-cells = <0>;

		// since module 2.0, this is 0. before it was 4.
		ethphy0: ethernet-phy {
			//reg = <0>;
			compatible = "ethernet-phy-ieee802.3-c22";
			at803x,hib-disabled;
			eee-broken-1000t;
			interrupts-extended = GPIRQ_EQOS_PHY;
			//reset-gpios = GP_EQOS_RESET;
			reg-mask = <0x90>;
		};
	};
};

// microsd card
&usdhc1 {
	assigned-clocks = <&clk IMX8MP_CLK_USDHC1_ROOT>;
	assigned-clock-rates = <400000000>;
	//max-frequency = <12000000>;
	bus-width = <4>;
	cd-gpios = GP_USDHC1_CD;
	pinctrl-names = "default"; //, "state_100mhz", "state_200mhz";
	pinctrl-0 = <&pinctrl_usdhc1>, <&pinctrl_usdhc1_gpio>;
	pinctrl-1 = <&pinctrl_usdhc1_100mhz>, <&pinctrl_usdhc1_gpio>;
	pinctrl-2 = <&pinctrl_usdhc1_200mhz>, <&pinctrl_usdhc1_gpio>;
	status = "okay";
	vmmc-supply = <&reg_main_3v3>;
	vqmmc-supply = <&reg_main_3v3>;
};

// sdio (wifi/bt qca9733)
&usdhc2 {
	//assigned-clocks = <&clk IMX8MP_CLK_USDHC2_ROOT>;
	//assigned-clock-rates = <200000000>;
	bus-width = <4>;
	//max-frequency = <100000000>;
	keep-power-in-suspend;
	no-sd-uhs-sdr104;
	non-removable;
	pinctrl-names = "default", "state_100mhz", "state_200mhz";
	pinctrl-0 = <&pinctrl_usdhc2>;
	pinctrl-1 = <&pinctrl_usdhc2_100mhz>;
	pinctrl-2 = <&pinctrl_usdhc2_200mhz>;
	pm-ignore-notify;
	status = "okay";
	vmmc-supply = <&reg_wlan_vmmc>;
	vqmmc-1-8-v;
	vqmmc-supply = <&reg_main_1v8>;
};

// emmc
&usdhc3 {
	bus-width = <8>; // FIXME was 4
	non-removable;
	pinctrl-names = "default", "state_100mhz", "state_200mhz";
	pinctrl-0 = <&pinctrl_usdhc3>;
	pinctrl-1 = <&pinctrl_usdhc3_100mhz>;
	pinctrl-2 = <&pinctrl_usdhc3_200mhz>;
	vmmc-supply = <&reg_main_3v3>;
	vqmmc-1-8-v;
	vqmmc-supply = <&reg_main_1v8>;
	status = "okay";
};

&pcie_phy {
	fsl,refclk-pad-mode = <IMX8_PCIE_REFCLK_PAD_OUTPUT>;
	clocks = <&hsio_blk_ctrl>;
	phy-supply = <&reg_pcie0>;
	clock-names = "ref";
	status = "okay";
	fsl,clkreq-unsupported;
};

&pcie {
	pinctrl-names = "default";
	pinctrl-0 = <&pinctrl_pcie>;
	reset-gpio = GP_PCIE_RESET;
	//disable-gpio = GP_PCIE_DISABLE;
	clocks = <&clk IMX8MP_CLK_HSIO_ROOT>,
		 <&clk IMX8MP_CLK_PCIE_ROOT>,
		 <&clk IMX8MP_CLK_HSIO_AXI>;
	clock-names = "pcie", "pcie_aux", "pcie_bus";
	assigned-clocks = <&clk IMX8MP_CLK_PCIE_AUX>;
	assigned-clock-rates = <10000000>;
	assigned-clock-parents = <&clk IMX8MP_SYS_PLL2_50M>;
	vpcie-supply = <&reg_pcie0>;
	vph-supply = <&reg_pcie0>;
	status = "okay";
};
